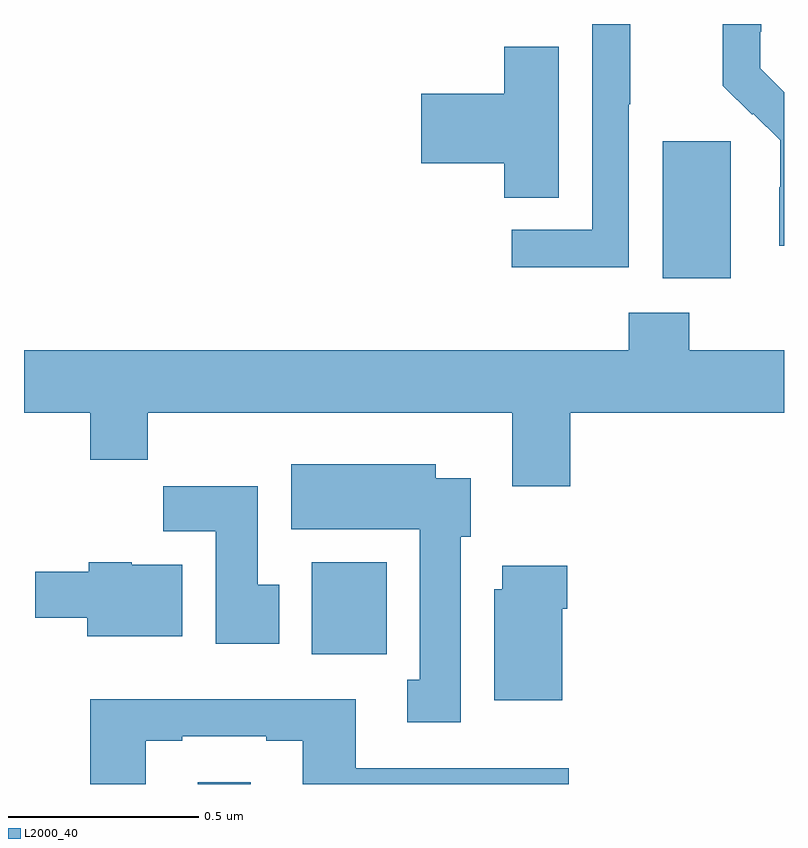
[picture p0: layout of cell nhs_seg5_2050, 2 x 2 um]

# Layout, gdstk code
import gdstk
lib = gdstk.Library(unit=1e-6, precision=1e-09)
def R(c, l, rs):  # rectangles x0, y0, x1, y1
    for r in rs: c.add(gdstk.rectangle(r[:2], r[2:], *l))
def P(c, l, *ps):  # polygons
    for p in ps: c.add(gdstk.Polygon(p, *l))
L2000_40 = (2000, 40)

nhs_seg5_2050 = lib.new_cell('nhs_seg5_2050')
R(nhs_seg5_2050, L2000_40, [(139.457,839.799,139.597,839.803), (139.757,840.14,139.954,840.382), (140.681,841.13,140.86,841.491)])
P(nhs_seg5_2050, L2000_40, [(140.592,841.588),(140.595,841.588),(140.595,841.799),(140.496,841.799),(140.496,841.257),(140.283,841.257),(140.283,841.159),(140.592,841.159)],
  [(141,841.62),(140.938,841.682),(140.938,841.779),(140.94,841.779),(140.94,841.799),(140.839,841.799),(140.839,841.637),(140.916,841.56),(140.919,841.563),(140.99,841.493),(140.99,841.37),(140.988,841.37),(140.988,841.216),(141,841.216)],
  [(140.407,841.739),(140.264,841.739),(140.264,841.616),(140.046,841.616),(140.046,841.433),(140.264,841.433),(140.264,841.342),(140.407,841.342)],
  [(140.438,840.776),(141,840.776),(141,840.94),(140.751,840.94),(140.751,841.039),(140.591,841.039),(140.591,840.94),(139,840.94),(139,840.776),(139.174,840.776),(139.174,840.652),(139.325,840.652),(139.325,840.776),(140.285,840.776),(140.285,840.582),(140.438,840.582)],
  [(140.149,840.45),(140.176,840.45),(140.176,840.604),(140.083,840.604),(140.083,840.64),(139.703,840.64),(139.703,840.47),(140.042,840.47),(140.042,840.074),(140.009,840.074),(140.009,839.961),(140.149,839.961)],
  [(139.672,840.324),(139.615,840.324),(139.615,840.582),(139.366,840.582),(139.366,840.464),(139.505,840.464),(139.505,840.168),(139.672,840.168)],
  [(139.417,840.376),(139.284,840.376),(139.284,840.382),(139.17,840.382),(139.17,840.358),(139.029,840.358),(139.029,840.236),(139.166,840.236),(139.166,840.188),(139.417,840.188)],
  [(140.416,840.26),(140.429,840.26),(140.429,840.373),(140.258,840.373),(140.258,840.312),(140.237,840.312),(140.237,840.02),(140.416,840.02)],
  [(139.321,839.913),(139.417,839.913),(139.417,839.925),(139.637,839.925),(139.637,839.913),(139.733,839.913),(139.733,839.799),(140.434,839.799),(140.434,839.841),(139.873,839.841),(139.873,840.022),(139.174,840.022),(139.174,839.799),(139.321,839.799)])

lib.write_gds('nhs_seg5_2050.gds')
